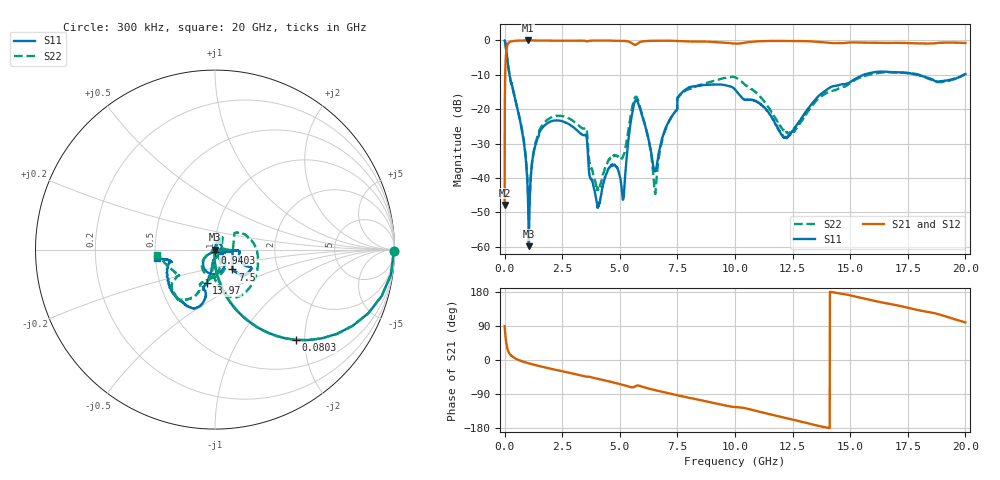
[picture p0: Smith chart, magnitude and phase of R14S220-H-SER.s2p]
!{R14S220}
!Johanson Technology Inc.
!www.johansontechnology.com
!Test Board Conditions:
!Substrate Type  RO4350B
!Substrate Thickness  20 mil
!Substrate Dk  3.66
!TL Type: GCPW
!TL Trace Width  36 mil
!TL Gap  12 mil
!Electrode orientation  Horizontal
!DUT TOPOLOGY	SERIES
!Mounting Pad LxW  26x36 mil
! Created Wed Nov 25 17:33:21 2020
! 2 Port Network Data from SP1.SP block
! freq  magS11  angS11  magS21  angS21  magS12  angS12  magS22  angS22
# khz S ma R 50
! decimated to every 10th point (10 MHz spacing) of the original 1 MHz Johanson file; values unchanged
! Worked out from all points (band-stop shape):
!   2001 points, 300 kHz to 20 GHz, reference 50 ohm
!   highest |S21| = -0.01 dB at 1.02 GHz (marker M1); lowest = -47.9 dB at 300 kHz (marker M2)
!   |S21| within 3 dB of the highest: 74.75 MHz to end of sweep
!   lowest |S11| = -59.9 dB at 1.05 GHz (marker M3), VSWR 1.00, Z = 49.9 - j0.0397 ohm
!   |S11| at or under -10 dB: 213.7 MHz to 15.6 GHz (15.39 GHz wide, 195 % of centre); 17.87 GHz to 19.93 GHz (2.061 GHz wide, 10.9 % of centre)
!   |S22| runs from -50.9 to 0.0 dB; largest |S21 - S12| = 0.018
!   S11 on the Smith chart (normalised r, x): 300 kHz: open; 80.3 MHz: 0.98, -1.82; 940.3 MHz: 0.99, -0.03; 7.5 GHz: 1.18, -0.27; 13.97 GHz: 0.85, -0.33; 20 GHz: 0.51, -0.05
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300  0.9968 -0.4  0.004041 89.5  0.004134 89.0  0.9957 -0.5
80300  0.676 -48.1  0.7342 41.8  0.735 41.8  0.6771 -48.0
180300  0.3703 -69.6  0.9258 20.2  0.9263 20.1  0.3731 -69.5
940300  0.01589 -99.5  0.9991 -7.1  0.9986 -7.1  0.01696 -89.0
1020300  0.004278 -110.6  0.9994 -8.5  0.9986 -8.5  0.005579 -70.3
1050300  0.001013 -156.9  0.9986 -9.0  0.9989 -9.0  0.002861 -23.3
1290300  0.02607 80.7  0.9985 -12.9  0.9983 -12.8  0.02746 69.1
1660300  0.05419 71.2  0.9955 -18.4  0.9955 -18.3  0.0598 70.7
3340300  0.04297 50.8  0.9935 -41.0  0.9933 -41.0  0.05336 43.3
4050300  0.003699 115.9  0.9947 -49.8  0.996 -49.8  0.006675 -36.2
4660300  0.01572 -160.8  0.9941 -58.3  0.9941 -58.3  0.02065 -116.8
5150300  0.004872 -92.4  0.986 -65.7  0.9859 -65.8  0.02083 -74.8
5690300  0.1357 -90.2  0.865 -68.8  0.8641 -68.8  0.1519 -93.7
6500300  0.01256 -92.4  0.9891 -79.1  0.9894 -79.0  0.007112 -105.5
6670300  0.02082 -27.8  0.9912 -81.5  0.99 -81.5  0.01698 -5.8
7500300  0.1471 -48.6  0.981 -93.0  0.9803 -93.0  0.1428 40.5
1.00003e7  0.193 -28.0  0.8997 -124.3  0.8978 -124.3  0.2913 -66.0
1.21903e7  0.03948 -53.8  0.9816 -152.9  0.984 -152.8  0.04659 -84.2
1.33403e7  0.1199 -100.4  0.9674 -169.7  0.969 -169.7  0.11 -76.9
1.39703e7  0.1903 -104.1  0.9306 -178.2  0.9346 -178.3  0.1703 -101.9
1.66703e7  0.3458 -118.6  0.9208 148.5  0.9126 148.3  0.347 -126.7
2e7  0.325 -171.6  0.9186 99.1  0.9186 99.6  0.3221 -174.5
